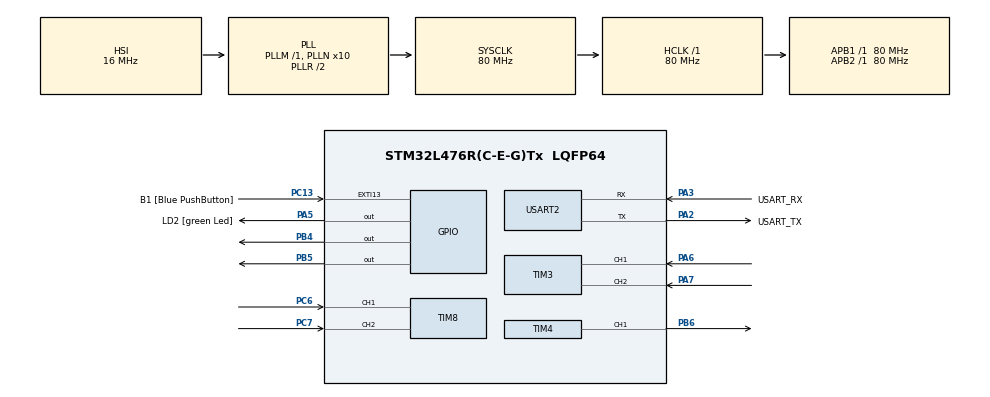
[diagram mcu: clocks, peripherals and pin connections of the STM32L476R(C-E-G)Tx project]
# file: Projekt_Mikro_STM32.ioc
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Mcu.Family=STM32L4
Mcu.Name=STM32L476R(C-E-G)Tx
Mcu.Package=LQFP64
NVIC.PriorityGroup=NVIC_PRIORITYGROUP_4
NVIC.TIM2_IRQn=true\:0\:0\:false\:true\:true\:1\:true\:true\:true
PA13\ (JTMS-SWDIO).GPIO_Label=TMS
PA13\ (JTMS-SWDIO).Mode=Serial_Wire
PA13\ (JTMS-SWDIO).Signal=SYS_JTMS-SWDIO
PA14\ (JTCK-SWCLK).GPIO_Label=TCK
PA14\ (JTCK-SWCLK).Mode=Serial_Wire
PA14\ (JTCK-SWCLK).Signal=SYS_JTCK-SWCLK
PA2.GPIO_Label=USART_TX
PA2.GPIO_Mode=GPIO_MODE_AF_PP
PA2.GPIO_PuPd=GPIO_NOPULL
PA2.GPIO_Speed=GPIO_SPEED_FREQ_VERY_HIGH
PA2.Mode=Asynchronous
PA2.Signal=USART2_TX
PA3.GPIO_Label=USART_RX
PA3.GPIO_Mode=GPIO_MODE_AF_PP
PA3.GPIO_PuPd=GPIO_NOPULL
PA3.GPIO_Speed=GPIO_SPEED_FREQ_VERY_HIGH
PA3.Mode=Asynchronous
PA3.Signal=USART2_RX
PA5.GPIO_Label=LD2 [green Led]
PA5.GPIO_ModeDefaultOutputPP=GPIO_MODE_OUTPUT_PP
PA5.GPIO_PuPd=GPIO_NOPULL
PA5.GPIO_Speed=GPIO_SPEED_FREQ_LOW
PA5.Signal=GPIO_Output
PA6.Signal=S_TIM3_CH1
PA7.Signal=S_TIM3_CH2
PB3\ (JTDO-TRACESWO).GPIO_Label=SWO
PB3\ (JTDO-TRACESWO).Signal=SYS_JTDO-SWO
PB4\ (NJTRST).Signal=GPIO_Output
PB5.Signal=GPIO_Output
PB6.Signal=S_TIM4_CH1
PC13.GPIO_Label=B1 [Blue PushButton]
PC13.GPIO_ModeDefaultEXTI=GPIO_MODE_IT_FALLING
PC13.GPIO_PuPd=GPIO_NOPULL
PC13.Signal=GPXTI13
PC14-OSC32_IN\ (PC14).Mode=LSE-External-Oscillator
PC14-OSC32_IN\ (PC14).Signal=RCC_OSC32_IN
PC15-OSC32_OUT\ (PC15).Mode=LSE-External-Oscillator
PC15-OSC32_OUT\ (PC15).Signal=RCC_OSC32_OUT
PC6.Signal=S_TIM8_CH1
PC7.Signal=S_TIM8_CH2
PH0-OSC_IN\ (PH0).Signal=RCC_OSC_IN
PH1-OSC_OUT\ (PH1).Signal=RCC_OSC_OUT
ProjectManager.HeapSize=0x200
ProjectManager.StackSize=0x400
ProjectManager.TargetToolchain=STM32CubeIDE
RCC.ADCFreq_Value=64000000
RCC.AHBFreq_Value=80000000
RCC.APB1Freq_Value=80000000
RCC.APB1TimFreq_Value=80000000
RCC.APB2Freq_Value=80000000
RCC.APB2TimFreq_Value=80000000
RCC.CortexFreq_Value=80000000
RCC.HCLKFreq_Value=80000000
RCC.HSE_VALUE=8000000
RCC.HSI_VALUE=16000000
RCC.MSI_VALUE=4000000
RCC.PLLN=10
RCC.PLLSourceVirtual=RCC_PLLSOURCE_HSI
RCC.PREFETCH_ENABLE=1
RCC.SYSCLKFreq_VALUE=80000000
RCC.SYSCLKSource=RCC_SYSCLKSOURCE_PLLCLK
RCC.USBFreq_Value=64000000
RCC.VCOOutputFreq_Value=160000000
SH.S_TIM3_CH1.0=TIM3_CH1,Encoder_Interface
SH.S_TIM3_CH2.0=TIM3_CH2,Encoder_Interface
SH.S_TIM4_CH1.0=TIM4_CH1,PWM Generation1 CH1
SH.S_TIM8_CH1.0=TIM8_CH1,Encoder_Interface
SH.S_TIM8_CH2.0=TIM8_CH2,Encoder_Interface
TIM2.Period=1999
TIM2.Prescaler=79
TIM3.EncoderMode=TIM_ENCODERMODE_TI12
TIM4.Channel-PWM\ Generation1\ CH1=TIM_CHANNEL_1
TIM4.Period=3999
TIM4.Prescaler=0
USART2.VirtualMode-Asynchronous=VM_ASYNC
VP_TIM2_VS_ClockSourceINT.Mode=Internal
board=NUCLEO-L476RG

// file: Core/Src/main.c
/* USER CODE BEGIN Header */
/**
  ******************************************************************************
  * @file           : main.c
  * @brief          : Main program body
  ******************************************************************************
  * @attention
  *
  * Copyright (c) 2026 STMicroelectronics.
  * All rights reserved.
  *
  * This software is licensed under terms that can be found in the LICENSE file
  * in the root directory of this software component.
  * If no LICENSE file comes with this software, it is provided AS-IS.
  *
  ******************************************************************************
  */
/* USER CODE END Header */
#include "main.h"
#include "tim.h"
#include "usart.h"
#include "gpio.h"

/* USER CODE BEGIN Includes */
#include <math.h>
#include <stdio.h>
#include <string.h>
/* USER CODE END Includes */

/* USER CODE BEGIN PV */
#define TS 0.002f
#define V_SUPPLY 3.0f
#define PWM_ARR 3999.0f

float CPR = 3840.0f;

float a[3] = { -1.1429805f, 0.4128016f };
float b[3] = { 0.06745527f, 0.13491055f, 0.06745527f };

float param_Kp_speed = 5.0f;
float param_Ti_speed = 0.2f;
float param_Td_speed = 0.00f;
float param_Kp_pos = 15.0f;

float Kp_dig = 0.0f;
float Ki_dig = 0.0f;
float Kd_dig = 0.0f;

float pid_integral = 0.0f;
float pid_prev_meas = 0.0f;

int16_t enc_prev = 0;
volatile int32_t total_pulses = 0;

float x_buf[2] = {0};
float y_buf[2] = {0};

float PULSE_TO_RAD = 0.0f;

////////// Enkoder Setpoint

#define MASTER_CPR 80.0f
float MASTER_PULSE_TO_RAD = 0.0f;

int16_t master_enc_prev = 0;
volatile int32_t master_total_pulses = 0;

///////////////debug
volatile float dbg_target_pos = 0.0f;

volatile float dbg_pos_rad = 0.0f;
volatile float dbg_speed_raw = 0.0f;
volatile float dbg_speed_filt = 0.0f;
volatile float dbg_target_speed = 0.0f;
volatile float dbg_pwm_u = 0.0f;

/* USER CODE END PV */

void SystemClock_Config(void);
static void MX_NVIC_Init(void);

int main(void)
{

  /* MCU Configuration--------------------------------------------------------*/

  /* Reset of all peripherals, Initializes the Flash interface and the Systick. */
  HAL_Init();

  /* Configure the system clock */
  SystemClock_Config();

  /* Initialize all configured peripherals */
  MX_GPIO_Init();
  MX_TIM2_Init();
  MX_USART2_UART_Init();
  MX_TIM3_Init();
  MX_TIM4_Init();
  MX_TIM8_Init();

  /* Initialize interrupts */
  MX_NVIC_Init();
  /* USER CODE BEGIN 2 */
  Kp_dig = param_Kp_speed;
  Ki_dig = param_Kp_speed * (TS / param_Ti_speed);
  Kd_dig = param_Kp_speed * (param_Td_speed / TS);

  PULSE_TO_RAD = (2.0f * 3.1415927f) / CPR;

  HAL_TIM_PWM_Start(&htim4, TIM_CHANNEL_1);
  HAL_TIM_Encoder_Start(&htim3, TIM_CHANNEL_ALL);
  HAL_TIM_Base_Start_IT(&htim2);

  MASTER_PULSE_TO_RAD = (2.0f * 3.1415927f) / MASTER_CPR;

  HAL_TIM_Encoder_Start(&htim8, TIM_CHANNEL_ALL);
  /* USER CODE END 2 */

  /* Infinite loop */
  /* USER CODE BEGIN WHILE */
  while (1)
  {

			char msg[128];

			sprintf(msg,
			   "POS:%.2f | REF:%.2f | SPD:%.2f | PWM:%.0f\r\n",
			   dbg_pos_rad,
			   dbg_target_pos,
			   dbg_speed_filt,
			   dbg_pwm_u);

			HAL_UART_Transmit(&huart2, (uint8_t*)msg, strlen(msg), 50);

			HAL_Delay(50);

    /* USER CODE END WHILE */

  }
}

void SystemClock_Config(void)
{
  RCC_OscInitTypeDef RCC_OscInitStruct = {0};
  RCC_ClkInitTypeDef RCC_ClkInitStruct = {0};

  /** Configure the main internal regulator output voltage
  */
  if (HAL_PWREx_ControlVoltageScaling(PWR_REGULATOR_VOLTAGE_SCALE1) != HAL_OK)
  {
    Error_Handler();
  }

  /** Initializes the RCC Oscillators according to the specified parameters
  * in the RCC_OscInitTypeDef structure.
  */
  RCC_OscInitStruct.OscillatorType = RCC_OSCILLATORTYPE_HSI;
  RCC_OscInitStruct.HSIState = RCC_HSI_ON;
  RCC_OscInitStruct.HSICalibrationValue = RCC_HSICALIBRATION_DEFAULT;
  RCC_OscInitStruct.PLL.PLLState = RCC_PLL_ON;
  RCC_OscInitStruct.PLL.PLLSource = RCC_PLLSOURCE_HSI;
  RCC_OscInitStruct.PLL.PLLM = 1;
  RCC_OscInitStruct.PLL.PLLN = 10;
  RCC_OscInitStruct.PLL.PLLP = RCC_PLLP_DIV7;
  RCC_OscInitStruct.PLL.PLLQ = RCC_PLLQ_DIV2;
  RCC_OscInitStruct.PLL.PLLR = RCC_PLLR_DIV2;
  if (HAL_RCC_OscConfig(&RCC_OscInitStruct) != HAL_OK)
  {
    Error_Handler();
  }

  /** Initializes the CPU, AHB and APB buses clocks
  */
  RCC_ClkInitStruct.ClockType = RCC_CLOCKTYPE_HCLK|RCC_CLOCKTYPE_SYSCLK
                              |RCC_CLOCKTYPE_PCLK1|RCC_CLOCKTYPE_PCLK2;
  RCC_ClkInitStruct.SYSCLKSource = RCC_SYSCLKSOURCE_PLLCLK;
  RCC_ClkInitStruct.AHBCLKDivider = RCC_SYSCLK_DIV1;
  RCC_ClkInitStruct.APB1CLKDivider = RCC_HCLK_DIV1;
  RCC_ClkInitStruct.APB2CLKDivider = RCC_HCLK_DIV1;

  if (HAL_RCC_ClockConfig(&RCC_ClkInitStruct, FLASH_LATENCY_4) != HAL_OK)
  {
    Error_Handler();
  }
}

/**
  * @brief NVIC Configuration.
  * @retval None
  */
static void MX_NVIC_Init(void)
{
  /* TIM2_IRQn interrupt configuration */
  HAL_NVIC_SetPriority(TIM2_IRQn, 0, 0);
  HAL_NVIC_EnableIRQ(TIM2_IRQn);
}

/* USER CODE BEGIN 4 */
void HAL_TIM_PeriodElapsedCallback(TIM_HandleTypeDef *htim)
{
  if (htim->Instance == TIM2)
  {
	    //###############################################

	  int16_t master_cnt = (int16_t)__HAL_TIM_GET_COUNTER(&htim8);
	  int16_t master_diff = master_cnt - master_enc_prev;
	  master_enc_prev = master_cnt;
	  master_total_pulses += master_diff;

	  float target_pos_ref = master_total_pulses * MASTER_PULSE_TO_RAD;

	    //###############################################

    int16_t current_cnt = (int16_t)__HAL_TIM_GET_COUNTER(&htim3);
    int16_t diff = current_cnt - enc_prev;
    enc_prev = current_cnt;
    total_pulses += diff;

    //###############################################

    float position_rad = total_pulses * PULSE_TO_RAD;
    float speed_raw = (diff * PULSE_TO_RAD) / TS;

    float speed = (b[0] * speed_raw)
                + (b[1] * x_buf[0])
                + (b[2] * x_buf[1])
                - (a[0] * y_buf[0])
                - (a[1] * y_buf[1]);

    x_buf[1] = x_buf[0];
    x_buf[0] = speed_raw;

    y_buf[1] = y_buf[0];
    y_buf[0] = speed;

    //###############################################

    float error_pos = target_pos_ref - position_rad;
    float target_speed = param_Kp_pos * error_pos;

    if (target_speed > 12.0f)  target_speed = 12.0f;
    if (target_speed < -12.0f) target_speed = -12.0f;

    //###############################################

    float error_speed = target_speed - speed;

    float P = Kp_dig * error_speed;
    pid_integral += Ki_dig * error_speed;
    float D = -Kd_dig * (speed - pid_prev_meas);

    float u_volts = P + pid_integral + D;

    //###############################################

    float u_sat_volts = u_volts;

    if (u_volts > V_SUPPLY) {
        u_sat_volts = V_SUPPLY;
        if (error_speed > 0) pid_integral -= Ki_dig * error_speed;
    }
    else if (u_volts < -V_SUPPLY) {
        u_sat_volts = -V_SUPPLY;
        if (error_speed < 0) pid_integral -= Ki_dig * error_speed;
    }

    pid_prev_meas = speed;

    float u_pwm = (u_sat_volts / V_SUPPLY) * PWM_ARR;

    //###############################################

    if (fabsf(u_pwm) < 100.0f)
    {
        __HAL_TIM_SET_COMPARE(&htim4, TIM_CHANNEL_1, 0);
        HAL_GPIO_WritePin(GPIOB, GPIO_PIN_4, GPIO_PIN_RESET);
        HAL_GPIO_WritePin(GPIOB, GPIO_PIN_5, GPIO_PIN_RESET);
    }
    else if (u_pwm > 0.0f)
    {
        HAL_GPIO_WritePin(GPIOB, GPIO_PIN_4, GPIO_PIN_SET);
        HAL_GPIO_WritePin(GPIOB, GPIO_PIN_5, GPIO_PIN_RESET);
        __HAL_TIM_SET_COMPARE(&htim4, TIM_CHANNEL_1, (uint32_t)u_pwm);
    }
    else
    {
        HAL_GPIO_WritePin(GPIOB, GPIO_PIN_4, GPIO_PIN_RESET);
        HAL_GPIO_WritePin(GPIOB, GPIO_PIN_5, GPIO_PIN_SET);
        __HAL_TIM_SET_COMPARE(&htim4, TIM_CHANNEL_1, (uint32_t)(-u_pwm));
    }

    //###############################################

    dbg_pos_rad = position_rad;
    dbg_speed_raw = speed_raw;
    dbg_speed_filt = speed;
    dbg_target_speed = target_speed;
    dbg_pwm_u = u_sat_volts;
    dbg_target_pos = target_pos_ref;

  }
}
/* USER CODE END 4 */

void Error_Handler(void)
{
  __disable_irq();
  while (1)
  {
  }
}
